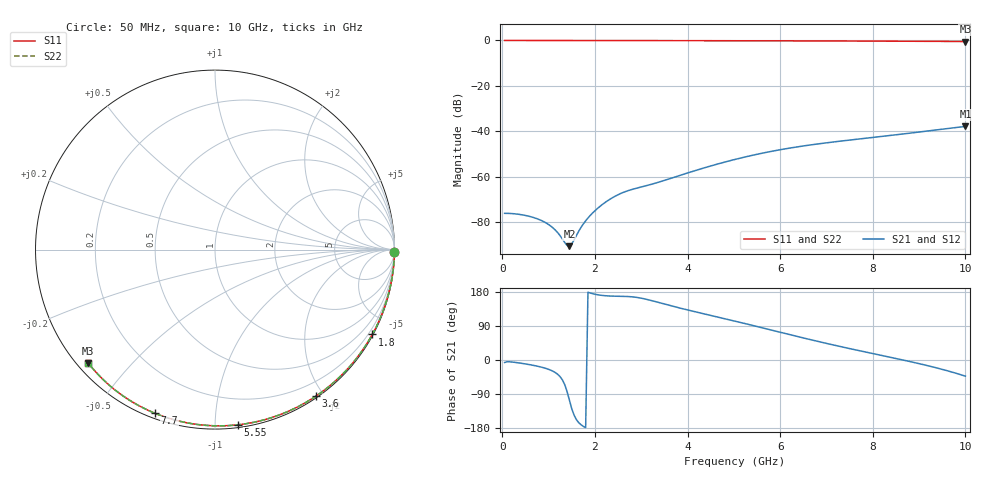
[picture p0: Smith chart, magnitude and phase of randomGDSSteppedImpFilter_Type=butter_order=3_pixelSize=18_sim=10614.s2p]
! freq	dB(S11)	phase(S11)	dB(S12)	phase(S12)
!  dB(S21)	phase(S21)	dB(S22)	phase(S22)
!S-par simulation data
#  GHz  S  DB  R 50
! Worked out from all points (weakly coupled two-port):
!   200 points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, 50 MHz to 10 GHz, reference 50 ohm
!   highest |S21| = -37.88 dB at 10 GHz (marker M1); lowest = -90.6 dB at 1.45 GHz (marker M2)
!   lowest |S11| = -0.5 dB at 10 GHz (marker M3), VSWR 37.24, Z = 1.54 - j19.1 ohm
!   |S11| at or under -10 dB: nowhere
!   |S22| runs from -0.5 to 0.0 dB; largest |S21 - S12| = 0
!   S11 on the Smith chart (normalised r, x): 50 MHz: open; 1.8 GHz: 0.03, -3.96; 3.6 GHz: 0.02, -1.91; 5.55 GHz: 0.02, -1.14; 7.7 GHz: 0.02, -0.70; 10 GHz: 0.03, -0.38
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0.05  -0.00 -0.8  -76.12 -6.6  -76.12 -6.6  -0.00 -0.8
0.25  -0.00 -4.0  -76.30 -5.9  -76.30 -5.9  -0.00 -4.0
0.5  -0.01 -8.0  -77.05 -10.3  -77.05 -10.3  -0.01 -8.0
0.7  -0.01 -11.2  -78.13 -14.8  -78.13 -14.8  -0.01 -11.2
0.95  -0.02 -15.1  -80.42 -22.5  -80.42 -22.5  -0.02 -15.1
1.45  -0.03 -22.9  -90.58 -106.6  -90.58 -106.6  -0.03 -22.9
1.75  -0.04 -27.6  -80.79 -175.2  -80.79 -175.2  -0.04 -27.6
1.8  -0.04 -28.3  -79.42 -178.5  -79.42 -178.5  -0.04 -28.3
1.95  -0.04 -30.6  -75.97 175.0  -75.97 175.0  -0.04 -30.6
2.1  -0.04 -32.9  -73.21 171.3  -73.21 171.3  -0.04 -32.9
2.25  -0.05 -35.2  -70.90 169.4  -70.90 169.4  -0.05 -35.2
2.45  -0.05 -38.3  -68.44 168.3  -68.44 168.3  -0.05 -38.3
2.75  -0.06 -42.8  -65.92 167.2  -65.92 167.2  -0.06 -42.8
3.4  -0.07 -52.4  -62.26 151.0  -62.26 151.0  -0.07 -52.4
3.6  -0.07 -55.3  -60.98 144.4  -60.98 144.4  -0.07 -55.3
4.3  -0.09 -65.4  -56.46 123.4  -56.46 123.4  -0.09 -65.4
5.05  -0.12 -75.8  -52.25 101.8  -52.25 101.8  -0.12 -75.8
5.55  -0.14 -82.6  -49.90 86.9  -49.90 86.9  -0.14 -82.6
6.7  -0.19 -97.6  -45.88 52.4  -45.88 52.4  -0.19 -97.6
7.7  -0.25 -110.2  -43.40 24.8  -43.40 24.8  -0.25 -110.2
8.35  -0.30 -118.2  -41.90 7.9  -41.90 7.9  -0.30 -118.2
10  -0.47 -138.2  -37.88 -42.6  -37.88 -42.6  -0.47 -138.2
